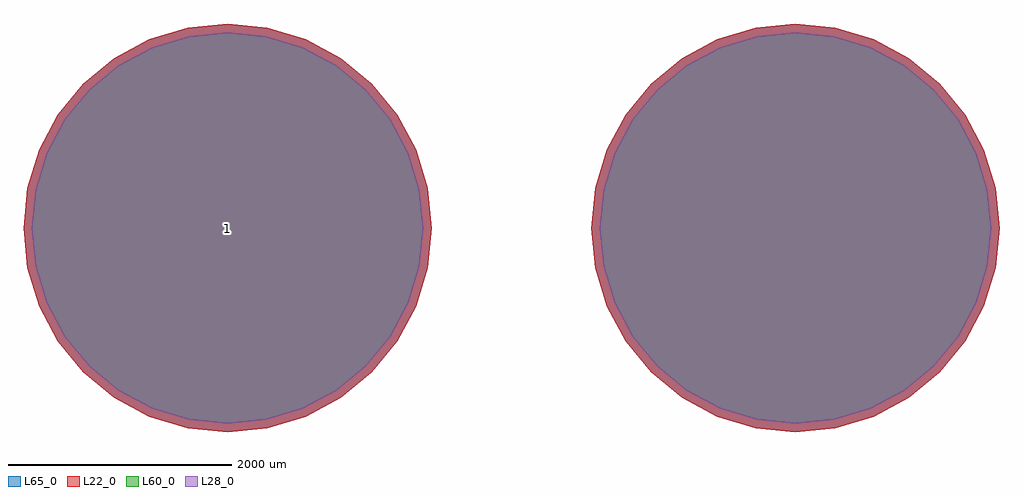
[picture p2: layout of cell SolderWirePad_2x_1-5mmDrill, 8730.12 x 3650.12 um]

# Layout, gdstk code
import gdstk
lib = gdstk.Library(unit=1e-6, precision=1e-09)
def P(c, l, *ps):  # polygons
    for p in ps: c.add(gdstk.Polygon(p, *l))
L22_0 = (22, 0)
L28_0 = (28, 0)
L60_0 = (60, 0)
L65_0 = (65, 0)

solderwirepad_2x_1_5mmdr = lib.new_cell('SolderWirePad_2x_1-5mmDrill')
P(solderwirepad_2x_1_5mmdr, L22_0, [(4365.06,0),(4329.992,356.052),(4226.136,698.42),(4057.482,1013.949),(3830.512,1290.512),(3553.949,1517.482),(3238.42,1686.136),(2896.052,1789.992),(2540,1825.06),(2183.948,1789.992),(1841.58,1686.136),(1526.051,1517.482),(1249.488,1290.512),(1022.518,1013.949),(853.864,698.42),(750.008,356.052),(714.94,0),(750.008,-356.052),(853.864,-698.42),(1022.518,-1013.949),(1249.488,-1290.512),(1526.051,-1517.482),(1841.58,-1686.136),(2183.948,-1789.992),(2540,-1825.06),(2896.052,-1789.992),(3238.42,-1686.136),(3553.949,-1517.482),(3830.512,-1290.512),(4057.482,-1013.949),(4226.136,-698.42),(4329.992,-356.052)],
  [(-714.94,0),(-750.008,356.052),(-853.864,698.42),(-1022.518,1013.949),(-1249.488,1290.512),(-1526.051,1517.482),(-1841.58,1686.136),(-2183.948,1789.992),(-2540,1825.06),(-2896.052,1789.992),(-3238.42,1686.136),(-3553.949,1517.482),(-3830.512,1290.512),(-4057.482,1013.949),(-4226.136,698.42),(-4329.992,356.052),(-4365.06,0),(-4329.992,-356.052),(-4226.136,-698.42),(-4057.482,-1013.949),(-3830.512,-1290.512),(-3553.949,-1517.482),(-3238.42,-1686.136),(-2896.052,-1789.992),(-2540,-1825.06),(-2183.948,-1789.992),(-1841.58,-1686.136),(-1526.051,-1517.482),(-1249.488,-1290.512),(-1022.518,-1013.949),(-853.864,-698.42),(-750.008,-356.052)])
P(solderwirepad_2x_1_5mmdr, L28_0, [(4290.06,0),(4256.433,341.42),(4156.845,669.719),(3995.122,972.281),(3777.479,1237.479),(3512.281,1455.122),(3209.719,1616.845),(2881.42,1716.433),(2540,1750.06),(2198.58,1716.433),(1870.281,1616.845),(1567.719,1455.122),(1302.521,1237.479),(1084.878,972.281),(923.155,669.719),(823.567,341.42),(789.94,0),(823.567,-341.42),(923.155,-669.719),(1084.878,-972.281),(1302.521,-1237.479),(1567.719,-1455.122),(1870.281,-1616.845),(2198.58,-1716.433),(2540,-1750.06),(2881.42,-1716.433),(3209.719,-1616.845),(3512.281,-1455.122),(3777.479,-1237.479),(3995.122,-972.281),(4156.845,-669.719),(4256.433,-341.42)],
  [(-789.94,0),(-823.567,341.42),(-923.155,669.719),(-1084.878,972.281),(-1302.521,1237.479),(-1567.719,1455.122),(-1870.281,1616.845),(-2198.58,1716.433),(-2540,1750.06),(-2881.42,1716.433),(-3209.719,1616.845),(-3512.281,1455.122),(-3777.479,1237.479),(-3995.122,972.281),(-4156.845,669.719),(-4256.433,341.42),(-4290.06,0),(-4256.433,-341.42),(-4156.845,-669.719),(-3995.122,-972.281),(-3777.479,-1237.479),(-3512.281,-1455.122),(-3209.719,-1616.845),(-2881.42,-1716.433),(-2540,-1750.06),(-2198.58,-1716.433),(-1870.281,-1616.845),(-1567.719,-1455.122),(-1302.521,-1237.479),(-1084.878,-972.281),(-923.155,-669.719),(-823.567,-341.42)])
P(solderwirepad_2x_1_5mmdr, L60_0, [(4290.06,0),(4256.433,341.42),(4156.845,669.719),(3995.122,972.281),(3777.479,1237.479),(3512.281,1455.122),(3209.719,1616.845),(2881.42,1716.433),(2540,1750.06),(2198.58,1716.433),(1870.281,1616.845),(1567.719,1455.122),(1302.521,1237.479),(1084.878,972.281),(923.155,669.719),(823.567,341.42),(789.94,0),(823.567,-341.42),(923.155,-669.719),(1084.878,-972.281),(1302.521,-1237.479),(1567.719,-1455.122),(1870.281,-1616.845),(2198.58,-1716.433),(2540,-1750.06),(2881.42,-1716.433),(3209.719,-1616.845),(3512.281,-1455.122),(3777.479,-1237.479),(3995.122,-972.281),(4156.845,-669.719),(4256.433,-341.42)],
  [(-789.94,0),(-823.567,341.42),(-923.155,669.719),(-1084.878,972.281),(-1302.521,1237.479),(-1567.719,1455.122),(-1870.281,1616.845),(-2198.58,1716.433),(-2540,1750.06),(-2881.42,1716.433),(-3209.719,1616.845),(-3512.281,1455.122),(-3777.479,1237.479),(-3995.122,972.281),(-4156.845,669.719),(-4256.433,341.42),(-4290.06,0),(-4256.433,-341.42),(-4156.845,-669.719),(-3995.122,-972.281),(-3777.479,-1237.479),(-3512.281,-1455.122),(-3209.719,-1616.845),(-2881.42,-1716.433),(-2540,-1750.06),(-2198.58,-1716.433),(-1870.281,-1616.845),(-1567.719,-1455.122),(-1302.521,-1237.479),(-1084.878,-972.281),(-923.155,-669.719),(-823.567,-341.42)])
P(solderwirepad_2x_1_5mmdr, L65_0, [(4365.06,0),(4329.992,356.052),(4226.136,698.42),(4057.482,1013.949),(3830.512,1290.512),(3553.949,1517.482),(3238.42,1686.136),(2896.052,1789.992),(2540,1825.06),(2183.948,1789.992),(1841.58,1686.136),(1526.051,1517.482),(1249.488,1290.512),(1022.518,1013.949),(853.864,698.42),(750.008,356.052),(714.94,0),(750.008,-356.052),(853.864,-698.42),(1022.518,-1013.949),(1249.488,-1290.512),(1526.051,-1517.482),(1841.58,-1686.136),(2183.948,-1789.992),(2540,-1825.06),(2896.052,-1789.992),(3238.42,-1686.136),(3553.949,-1517.482),(3830.512,-1290.512),(4057.482,-1013.949),(4226.136,-698.42),(4329.992,-356.052)],
  [(-714.94,0),(-750.008,356.052),(-853.864,698.42),(-1022.518,1013.949),(-1249.488,1290.512),(-1526.051,1517.482),(-1841.58,1686.136),(-2183.948,1789.992),(-2540,1825.06),(-2896.052,1789.992),(-3238.42,1686.136),(-3553.949,1517.482),(-3830.512,1290.512),(-4057.482,1013.949),(-4226.136,698.42),(-4329.992,356.052),(-4365.06,0),(-4329.992,-356.052),(-4226.136,-698.42),(-4057.482,-1013.949),(-3830.512,-1290.512),(-3553.949,-1517.482),(-3238.42,-1686.136),(-2896.052,-1789.992),(-2540,-1825.06),(-2183.948,-1789.992),(-1841.58,-1686.136),(-1526.051,-1517.482),(-1249.488,-1290.512),(-1022.518,-1013.949),(-853.864,-698.42),(-750.008,-356.052)])
solderwirepad_2x_1_5mmdr.add(gdstk.Label('1', (-2540,0), layer=28, texttype=0))
solderwirepad_2x_1_5mmdr.add(gdstk.Label('type', (635,-3810), layer=9, texttype=0))
solderwirepad_2x_1_5mmdr.add(gdstk.Label('devicename', (0,3810), layer=9, texttype=0))

lib.write_gds('SolderWirePad_2x_1-5mmDrill.gds')
